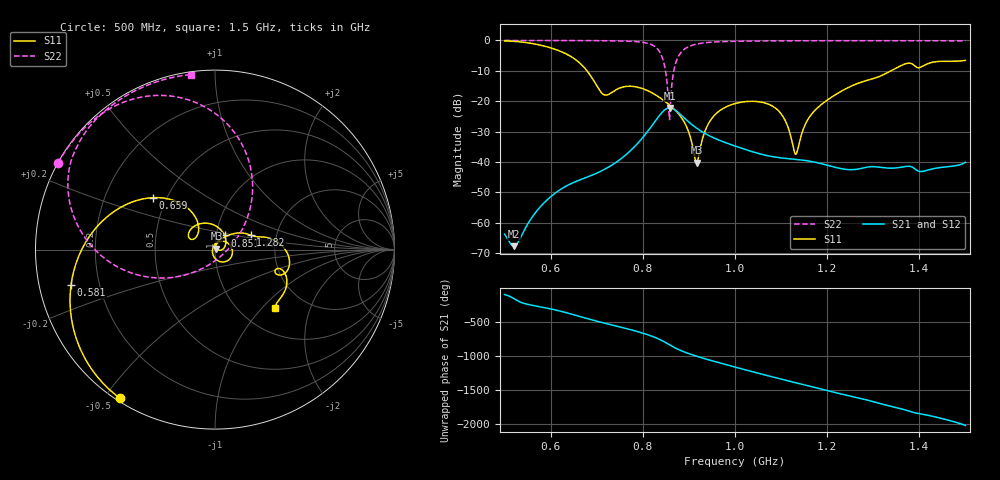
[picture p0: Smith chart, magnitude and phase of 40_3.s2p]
! TOUCHSTONE file generated by CST MICROWAVE STUDIO
! Date and time: Fri Oct 30 08:05:00 2020
! Project name: Scenario_1_Circular_Tissue_out_of_Line.cst
! Parameters = {dy1=330.299; L_HA=400; MT=2.54; Rad_Dielectric=30; Rad_Lower=7.3; Rad_Upper=30; a_HA=580; a_WG=246; b_HA=500; b_WG=121; c_HA=0; c_WG=187; d_feed=85; dx1=520; h_feed=15; h_lower=18; h_upper=40}
! Header version: 2018
! Port assignment regex: !\s*Touchstone port\s*([0-9]+)\s*=\s*(CST MWS port|CST DS port)\s*([0-9]+|Zmin|Zmax)\s*\(\"(.*)\"\)(\s*mode\s*([0-9]+))?.*
! Touchstone port assignment:
! Touchstone port 1 = CST MWS port 1 ("")
! Touchstone port 2 = CST MWS port 2 ("")
# GHz S DB R 50
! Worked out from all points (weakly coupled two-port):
!   1001 points, 500 MHz to 1.5 GHz, reference 50 ohm
!   highest |S21| = -22.20 dB at 858 MHz (marker M1); lowest = -67.8 dB at 520 MHz (marker M2)
!   lowest |S11| = -40.3 dB at 917 MHz (marker M3), VSWR 1.02, Z = 50.8 + j0.582 ohm
!   |S11| at or under -10 dB: 678.8 MHz to 1.338 GHz (659.6 MHz wide, 65.4 % of centre)
!   |S22| runs from -26.1 to 0.0 dB; largest |S21 - S12| = 2.5e-05
!   S11 on the Smith chart (normalised r, x): 500 MHz: 0.01, -0.55; 581 MHz: 0.10, -0.12; 659 MHz: 0.42, +0.31; 851 MHz: 1.10, +0.17; 1.282 GHz: 1.47, +0.25; 1.5 GHz: 1.42, -1.19
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0.5  -0.15 -122.4  -63.80 -97.2  -63.80 -97.2  -0.01 151.1
0.52  -0.30 -132.3  -67.76 -157.0  -67.75 -156.9  -0.01 149.8
0.581  -1.67 -166.3  -54.21 78.1  -54.22 78.1  -0.02 145.5
0.659  -6.92 140.1  -46.20 -51.5  -46.20 -51.5  -0.04 139.1
0.667  -8.00 134.2  -45.73 -67.0  -45.73 -67.0  -0.04 138.4
0.716  -17.90 139.8  -42.52 -155.7  -42.52 -155.7  -0.08 132.9
0.791  -15.49 122.1  -33.53 73.8  -33.53 73.8  -0.47 116.7
0.834  -18.56 76.3  -25.13 -29.4  -25.12 -29.4  -3.19 83.5
0.851  -20.43 56.1  -22.50 -89.0  -22.50 -89.0  -11.92 44.6
0.858  -21.29 47.3  -22.20 -116.2  -22.20 -116.2  -26.09 -58.4
0.877  -24.10 22.2  -23.75 176.4  -23.75 176.4  -5.31 -169.2
0.897  -29.18 -3.9  -26.52 121.6  -26.52 121.6  -2.23 170.3
0.917  -40.31 36.4  -28.92 76.4  -28.92 76.4  -1.20 159.5
0.948  -26.05 61.1  -31.68 14.4  -31.68 14.4  -0.58 149.7
1  -20.79 9.1  -34.78 -82.1  -34.78 -82.0  -0.28 140.4
1.088  -22.32 -63.2  -38.44 121.6  -38.44 121.6  -0.14 130.8
1.11  -26.72 -92.7  -38.86 84.2  -38.86 84.2  -0.12 128.9
1.132  -37.49 167.1  -39.19 47.0  -39.19 47.0  -0.11 127.1
1.167  -24.13 63.7  -39.91 -12.6  -39.91 -12.6  -0.10 124.2
1.282  -13.35 22.0  -41.86 162.1  -41.86 162.1  -0.08 115.4
1.334  -10.36 12.5  -42.06 69.6  -42.06 69.6  -0.09 111.5
1.5  -6.58 -44.3  -40.12 140.4  -40.12 140.4  -0.13 97.9
